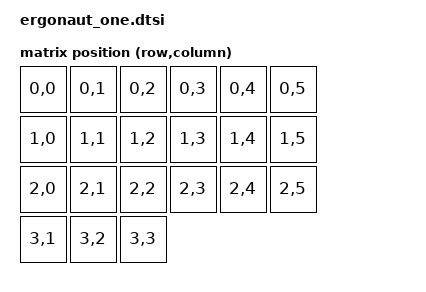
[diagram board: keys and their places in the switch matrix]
/*
 * SPDX-License-Identifier: MIT
 * Конфигурация для сплит-клавиатуры с 42 клавишами
 * Левая половина: 3 ряда по 6 + 3 клавиши большого пальца = 21 клавиша
 */

#include <dt-bindings/zmk/matrix_transform.h>

/ {
    chosen {
        zmk,kscan = &kscan0;
        zmk,matrix_transform = &default_transform;
    };

    default_transform: keymap_transform0 {
        compatible = "zmk,matrix-transform";
        columns = <6>;
        rows = <4>;  /* 4 строки: 3 основных ряда + 1 ряд для клавиш больших пальцев */
        
        /* 
         * Матрица для левой половины (21 клавиша)
         * RC(ряд, столбец)
         * 
         * Ряды 0-2: основные три ряда по 6 клавиш
         * Ряд 3: три клавиши больших пальцев (позиции RC(3,1), RC(3,2), RC(3,3))
         * 
         * NULL - неиспользуемые позиции матрицы
         */
        map = <
            // Ряд 0 (верхний) - 6 клавиш
            RC(0,0) RC(0,1) RC(0,2) RC(0,3) RC(0,4) RC(0,5)
            
            // Ряд 1 (средний) - 6 клавиш
            RC(1,0) RC(1,1) RC(1,2) RC(1,3) RC(1,4) RC(1,5)
            
            // Ряд 2 (нижний) - 6 клавиш
            RC(2,0) RC(2,1) RC(2,2) RC(2,3) RC(2,4) RC(2,5)
            
            // Ряд 3 (клавиши больших пальцев) - 3 клавиши в центре
           RC(3,1) RC(3,2) RC(3,3) 
        >;
    };
};
